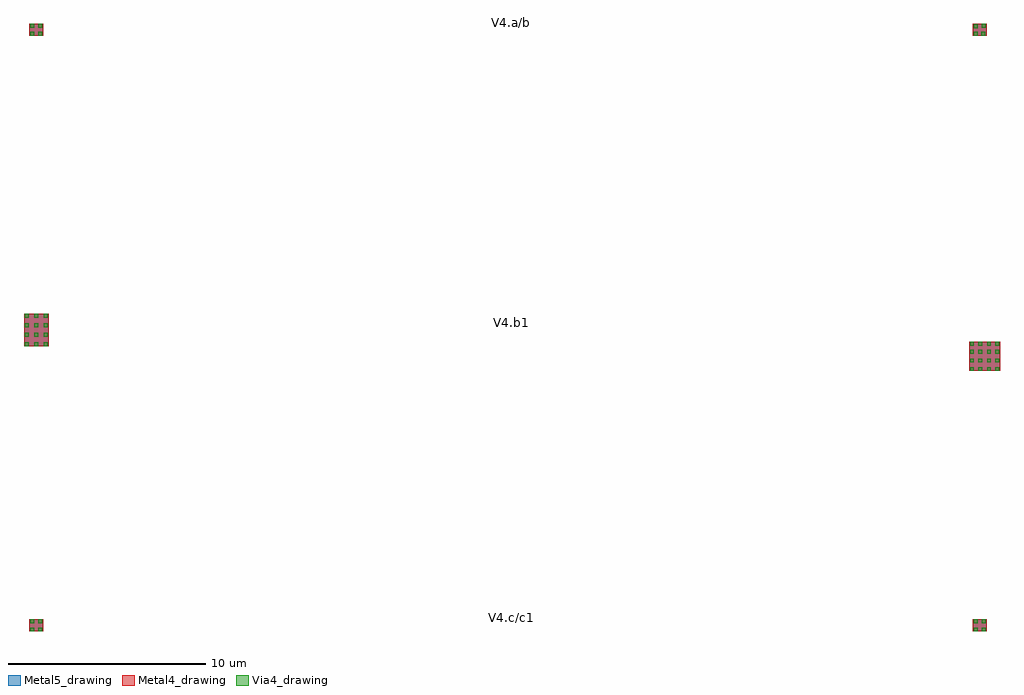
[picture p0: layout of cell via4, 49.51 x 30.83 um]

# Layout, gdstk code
import gdstk
lib = gdstk.Library(unit=1e-6, precision=1e-09)
def R(c, l, rs):  # rectangles x0, y0, x1, y1
    for r in rs: c.add(gdstk.rectangle(r[:2], r[2:], *l))
def A(c, l, x, y, w, h, nx, ny, dx, dy):  # array of equal rectangles
    R(c, l, [(x+i*dx, y+j*dy, x+i*dx+w, y+j*dy+h) for i in range(nx) for j in range(ny)])
Metal4_drawing = (50, 0)
Via4_drawing = (66, 0)
Metal5_drawing = (67, 0)

via4 = lib.new_cell('via4')
R(via4, Metal4_drawing, [(-24.46,-38.155,-23.76,-37.545), (23.4,-38.155,24.095,-37.55), (23.215,-24.945,24.775,-23.46), (-24.735,-23.69,-23.485,-22.05), (-24.46,-7.945,-23.76,-7.335), (23.395,-7.945,24.105,-7.325)])
A(via4, Via4_drawing, 23.265, -24.94, 0.19, 0.19, 1, 3, 0, 0.435)
A(via4, Via4_drawing, 23.675, -24.94, 0.19, 0.19, 1, 3, 0, 0.435)
A(via4, Via4_drawing, 24.125, -24.94, 0.19, 0.19, 1, 3, 0, 0.435)
A(via4, Via4_drawing, 24.535, -24.94, 0.19, 0.19, 1, 3, 0, 0.435)
A(via4, Via4_drawing, -24.685, -23.685, 0.19, 0.19, 3, 4, 0.48, 0.48)
R(via4, Via4_drawing, [(-24.41,-38.15,-24.22,-37.96), (-24,-38.15,-23.81,-37.96), (23.445,-38.15,23.635,-37.96), (23.855,-38.15,24.045,-37.96), (-24.41,-37.74,-24.22,-37.55), (-24,-37.74,-23.81,-37.55), (23.445,-37.74,23.635,-37.55), (23.855,-37.74,24.045,-37.55), (23.265,-23.655,23.455,-23.465), (23.675,-23.655,23.865,-23.465), (24.125,-23.655,24.315,-23.465), (24.535,-23.655,24.725,-23.465), (-24.41,-7.94,-24.22,-7.75), (-24,-7.94,-23.81,-7.75), (23.835,-7.94,24.025,-7.75), (23.45,-7.935,23.635,-7.75), (23.445,-7.555,23.635,-7.365), (-24.41,-7.53,-24.22,-7.34), (-24,-7.53,-23.81,-7.34), (23.855,-7.53,24.055,-7.33)])
R(via4, Metal5_drawing, [(-24.46,-38.155,-23.76,-37.545), (23.4,-38.155,24.095,-37.545), (23.215,-24.945,24.775,-23.46), (-24.735,-23.69,-23.485,-22.05), (-24.46,-7.945,-23.76,-7.335), (23.395,-7.945,24.105,-7.325)])
via4.add(gdstk.Label('V4.a/b', (0,-7.245), layer=63, texttype=0))
via4.add(gdstk.Label('V4.b1', (0,-22.475), layer=63, texttype=0))
via4.add(gdstk.Label('V4.c/c1', (0,-37.455), layer=63, texttype=0))
via4.add(gdstk.Label('PASS', (-12,5), layer=63, texttype=0))
via4.add(gdstk.Label('FAIL', (12,5), layer=63, texttype=0))
via4.add(gdstk.Label('5.20 Vian', (0,21), layer=63, texttype=0))

lib.write_gds('via4.gds')
